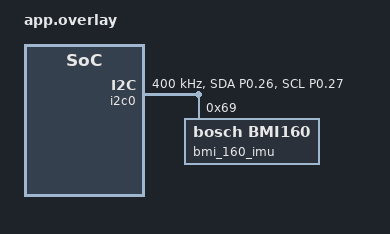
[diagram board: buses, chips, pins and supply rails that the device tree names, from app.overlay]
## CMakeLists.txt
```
# SPDX-License-Identifier: Apache-2.0

cmake_minimum_required(VERSION 3.20.0)

find_package(Zephyr REQUIRED HINTS $ENV{ZEPHYR_BASE})
project(NONE)

# NORDIC SDK APP START
FILE(GLOB_RECURSE app_sources src/*.c)
target_sources(app PRIVATE ${app_sources})

# NORDIC SDK APP END
FILE(GLOB_RECURSE files Fusion/Fusion/*.c)
target_sources(app PRIVATE ${files})
```

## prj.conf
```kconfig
CONFIG_I2C=y
CONFIG_STDOUT_CONSOLE=y
CONFIG_NEWLIB_LIBC=y
CONFIG_NEWLIB_LIBC_FLOAT_PRINTF=y 
CONFIG_ESB=y
CONFIG_NRFX_TIMER1=y
```

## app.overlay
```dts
&pinctrl {
    i2c0_default: i2c0_default {
        group1 {
            psels = <NRF_PSEL(TWIM_SDA, 0, 26)>,
                    <NRF_PSEL(TWIM_SCL, 0, 27)>;
        };
    };

    i2c0_sleep: i2c0_sleep {
        group1 {
            psels = <NRF_PSEL(TWIM_SDA, 0, 26)>,
                    <NRF_PSEL(TWIM_SCL, 0, 27)>;
            low-power-enable;
        };
    };
};

&i2c0 {
    compatible = "nordic,nrf-twi";
	status = "okay";
    clock-frequency = <I2C_BITRATE_FAST>; /* Adjust bitrate if necessary */
    bmi_160_imu: imu_bmi160@69 {
        compatible = "bosch,bmi160";
        reg = <0x69>; /* I2C address of the BMI160 */
    };
    pinctrl-0 = <&i2c0_default>;
    pinctrl-1 = <&i2c0_sleep>;
};
```

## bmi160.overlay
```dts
#define IMU BMI160
&pinctrl {
    i2c0_default: i2c0_default {
        group1 {
            psels = <NRF_PSEL(TWIM_SDA, 0, 26)>,
                    <NRF_PSEL(TWIM_SCL, 0, 27)>;
        };
    };

    i2c0_sleep: i2c0_sleep {
        group1 {
            psels = <NRF_PSEL(TWIM_SDA, 0, 26)>,
                    <NRF_PSEL(TWIM_SCL, 0, 27)>;
            low-power-enable;
        };
    };
};

&i2c0 {
    compatible = "nordic,nrf-twi";
	status = "okay";
    clock-frequency = <I2C_BITRATE_FAST>; /* Adjust bitrate if necessary */
    bmi_160_imu: imu_bmi160@69 {
        compatible = "bosch,bmi160";
        reg = <0x69>; /* I2C address of the BMI160 */
    };
    pinctrl-0 = <&i2c0_default>;
    pinctrl-1 = <&i2c0_sleep>;
};
```

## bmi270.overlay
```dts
&pinctrl {
    i2c0_default: i2c0_default {
        group1 {
            psels = <NRF_PSEL(TWIM_SDA, 0, 26)>,
                    <NRF_PSEL(TWIM_SCL, 0, 27)>;
        };
    };

    i2c0_sleep: i2c0_sleep {
        group1 {
            psels = <NRF_PSEL(TWIM_SDA, 0, 26)>,
                    <NRF_PSEL(TWIM_SCL, 0, 27)>;
            low-power-enable;
        };
    };
};

&i2c0 {
    compatible = "nordic,nrf-twi";
	status = "okay";
    clock-frequency = <I2C_BITRATE_FAST>; /* Adjust bitrate if necessary */
    bmi_270_imu: imu_bmi270@69 {
        compatible = "bosch,bmi160";
        reg = <0x69>; /* I2C address of the BMI160 */
    };
    pinctrl-0 = <&i2c0_default>;
    pinctrl-1 = <&i2c0_sleep>;
};
```

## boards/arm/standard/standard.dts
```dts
// Copyright (c) 2024 Nordic Semiconductor ASA
// SPDX-License-Identifier: Apache-2.0

/dts-v1/;
#include <nordic/nrf52832_ciaa.dtsi>

/ {
	model = "standard";
	compatible = "standard";

	chosen {
		zephyr,sram = &sram0;
		zephyr,flash = &flash0;
		zephyr,code-partition = &slot0_partition;
	};
};

&flash0 {
	partitions {
		compatible = "fixed-partitions";
		#address-cells = <1>;
		#size-cells = <1>;

		boot_partition: partition@0 {
			label = "mcuboot";
			reg = <0x0 0xc000>;
		};
		slot0_partition: partition@c000 {
			label = "image-0";
			reg = <0xc000 0x32000>;
		};
		slot1_partition: partition@3e000 {
			label = "image-1";
			reg = <0x3e000 0x32000>;
		};
		scratch_partition: partition@70000 {
			label = "image-scratch";
			reg = <0x70000 0xa000>;
		};
		storage_partition: partition@7a000 {
			label = "storage";
			reg = <0x7a000 0x6000>;
		};
	};
};
```

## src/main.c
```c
/*
 * Copyright (c) 2012-2014 Wind River Systems, Inc.
 *
 * SPDX-License-Identifier: Apache-2.0
 */

#include <stdio.h>
#include <stdbool.h>
#include "imu/sensor.h"



int main(void)
{
	init_fused_IMU();
	while (1) {
		read_fused_IMU();
	}
}
```

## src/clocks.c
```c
#include "clocks.h"
#include <nrfx_timer.h>
#include <zephyr/drivers/clock_control.h>
#include <zephyr/drivers/clock_control/nrf_clock_control.h>

static volatile uint32_t m_counter = 1;
const nrfx_timer_t m_timer = NRFX_TIMER_INSTANCE(1);

#define LAST_RESET_LIMIT 10

extern uint8_t paired_addr[8];

extern uint8_t last_reset;
extern uint16_t led_clock;
extern uint32_t led_clock_offset;
extern bool timer_state;

bool esb_state = false;
bool send_data = false;

extern struct esb_payload tx_payload;

void clear_timer() {
    nrfx_timer_clear(&m_timer);
}
void resume_timer() {
    nrfx_timer_resume(&m_timer);
}


int clocks_start(void)
{
	int err;
	int res;
	struct onoff_manager *clk_mgr;
	struct onoff_client clk_cli;

	clk_mgr = z_nrf_clock_control_get_onoff(CLOCK_CONTROL_NRF_SUBSYS_HF);
	if (!clk_mgr)
	{
		// LOG_ERR("Unable to get the Clock manager");
		return -ENXIO;
	}

	sys_notify_init_spinwait(&clk_cli.notify);

	err = onoff_request(clk_mgr, &clk_cli);
	if (err < 0)
	{
		// LOG_ERR("Clock request failed: %d", err);
		return err;
	}

	do
	{
		err = sys_notify_fetch_result(&clk_cli.notify, &res);
		if (!err && res)
		{
			// LOG_ERR("Clock could not be started: %d", res);
			return res;
		}
	} while (err);

	// LOG_DBG("HF clock started");
	return 0;

    
}

static void timer_handler(nrf_timer_event_t event_type, void *p_context) {
	if (event_type == NRF_TIMER_EVENT_COMPARE1 && esb_state == true) {
		if (last_reset < LAST_RESET_LIMIT) {
			last_reset++;
			if (send_data) { // scuffed check
				esb_write_payload(&tx_payload); // Add transmission to queue
				esb_start_tx();
				send_data = false;
			}
//			esb_flush_tx();
		} else {
			esb_disable();
			esb_initialize_rx();
			esb_start_rx();
			esb_state = false;
			nrfx_timer_pause(&m_timer);
			timer_state = false;
			LOG_INF("timer reset elapsed");
		}
	} else if (event_type == NRF_TIMER_EVENT_COMPARE2 && esb_state == true) {
		esb_disable();
		esb_initialize_rx();
		esb_start_rx();
		esb_state = false;
	} else if (event_type == NRF_TIMER_EVENT_COMPARE3 && esb_state == false) {
		esb_stop_rx();
		esb_disable();
		esb_initialize();
		esb_state = true;
	}
}

void timer_init(void) {
//	nrfx_err_t err;
	nrfx_timer_config_t timer_cfg = NRFX_TIMER_DEFAULT_CONFIG(1000000);  
	//timer_cfg.frequency = NRF_TIMER_FREQ_1MHz;
	//timer_cfg.mode = NRF_TIMER_MODE_TIMER;
	//timer_cfg.bit_width = NRF_TIMER_BIT_WIDTH_16;
	//timer_cfg.interrupt_priority = NRFX_TIMER_DEFAULT_CONFIG_IRQ_PRIORITY;
	//timer_cfg.p_context = NULL;
	nrfx_timer_init(&m_timer, &timer_cfg, timer_handler);
	uint32_t ticks = nrfx_timer_ms_to_ticks(&m_timer, 3);
	nrfx_timer_extended_compare(&m_timer, NRF_TIMER_CC_CHANNEL0, ticks, NRF_TIMER_SHORT_COMPARE0_CLEAR_MASK, false);
	LOG_INF("timer at %d", ticks * (paired_addr[1]*2 + 3) / 21); // TODO: temp set max 8
	nrfx_timer_compare(&m_timer, NRF_TIMER_CC_CHANNEL1, ticks * (paired_addr[1]*2 + 3) / 21, true); // timeslot to send data  TODO: temp set max 8
	nrfx_timer_compare(&m_timer, NRF_TIMER_CC_CHANNEL2, ticks * 19 / 21, true); // switch to rx
	nrfx_timer_compare(&m_timer, NRF_TIMER_CC_CHANNEL3, ticks * 2 / 21, true); // switch to tx
	nrfx_timer_enable(&m_timer);
	IRQ_DIRECT_CONNECT(TIMER1_IRQn, 0, nrfx_timer_1_irq_handler, 0);
	irq_enable(TIMER1_IRQn);
	timer_state = true;
}
```

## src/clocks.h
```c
#include <nrfx_timer.h>
#ifndef CLOCKS_H_
#define CLOCKS_H_
void clear_timer();
void resume_timer();
#endif
```
